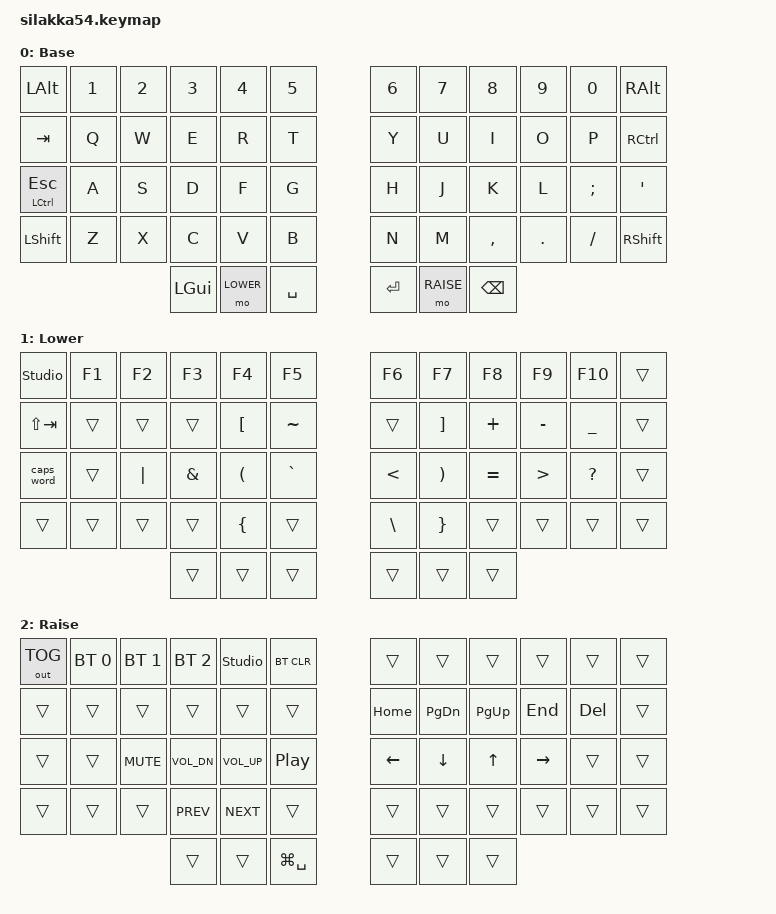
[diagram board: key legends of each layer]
/*
 * Copyright (c) 2026 Anshul Joshi
 *
 * SPDX-License-Identifier: MIT
 *
 * Stage 0 keymap — deliberately minimal. Layer changes graduate from
 * ZMK Studio experiments into this file; this file is the truth.
 *
 * Physical position indices (matches silakka54-layouts.dtsi order):
 *   0-11 number row, 12-23 top row, 24-35 home row, 36-47 bottom row,
 *   48-50 left thumbs (outer->inner), 51-53 right thumbs (inner->outer).
 */

#include <behaviors.dtsi>
#include <dt-bindings/zmk/keys.h>
#include <dt-bindings/zmk/bt.h>
#include <dt-bindings/zmk/outputs.h>

#define BASE  0
#define LOWER 1
#define RAISE 2

/*
 * ── Week-3 scaffold: urob-style "timeless" home row mods. NOT ACTIVE. ──
 * To enable: uncomment the defines and the behaviors block, then replace
 * home-row taps in base_layer with e.g. &hml LCTRL A ... &hmr RCTRL SEMI.
 * balanced flavor + require-prior-idle-ms means a hold only registers when
 * you pause first or chord with the opposite hand — no misfires mid-roll.
 *
 * #define KEYS_L 0 1 2 3 4 5 12 13 14 15 16 17 24 25 26 27 28 29 36 37 38 39 40 41
 * #define KEYS_R 6 7 8 9 10 11 18 19 20 21 22 23 30 31 32 33 34 35 42 43 44 45 46 47
 * #define THUMBS 48 49 50 51 52 53
 *
 * / {
 *     behaviors {
 *         hml: home_row_mod_left {
 *             compatible = "zmk,behavior-hold-tap";
 *             #binding-cells = <2>;
 *             flavor = "balanced";
 *             tapping-term-ms = <280>;
 *             quick-tap-ms = <175>;
 *             require-prior-idle-ms = <150>;
 *             bindings = <&kp>, <&kp>;
 *             hold-trigger-key-positions = <KEYS_R THUMBS>;
 *             hold-trigger-on-release;
 *         };
 *         hmr: home_row_mod_right {
 *             compatible = "zmk,behavior-hold-tap";
 *             #binding-cells = <2>;
 *             flavor = "balanced";
 *             tapping-term-ms = <280>;
 *             quick-tap-ms = <175>;
 *             require-prior-idle-ms = <150>;
 *             bindings = <&kp>, <&kp>;
 *             hold-trigger-key-positions = <KEYS_L THUMBS>;
 *             hold-trigger-on-release;
 *         };
 *     };
 * };
 */

/* Caps behaves as a toggle: second press cancels. SPACE added so caps
 * survive across words; Enter/punctuation still auto-cancel as a safety
 * net, since the board has no caps indicator. */
&caps_word {
    continue-list = <UNDERSCORE BACKSPACE DELETE SPACE>;
};

/* Tap = Esc, hold = Ctrl. Positional: the hold only triggers when chorded
 * with the RIGHT hand or thumbs — same-hand ctrl chords route through the
 * dedicated right-column Ctrl instead. prior-idle 190ms = 10500/55wpm;
 * retune down as prose speed recovers (150 @ 70wpm). */
/ {
    behaviors {
        esc_ctl: esc_ctl {
            compatible = "zmk,behavior-hold-tap";
            #binding-cells = <2>;
            flavor = "balanced";
            tapping-term-ms = <280>;
            quick-tap-ms = <175>;
            require-prior-idle-ms = <190>;
            bindings = <&kp>, <&kp>;
            hold-trigger-key-positions = <6 7 8 9 10 11 18 19 20 21 22 23 30 31 32 33 34 35 42 43 44 45 46 47 48 49 50 51 52 53>;
            hold-trigger-on-release;
        };
    };
};

/ {
    keymap {
        compatible = "zmk,keymap";

        base_layer {
            display-name = "Base";
            bindings = <
&kp LALT  &kp N1 &kp N2 &kp N3 &kp N4 &kp N5        &kp N6  &kp N7 &kp N8    &kp N9  &kp N0   &kp RALT
&kp TAB   &kp Q  &kp W  &kp E  &kp R  &kp T         &kp Y   &kp U  &kp I     &kp O   &kp P    &kp RCTRL
&esc_ctl LCTRL ESC &kp A &kp S &kp D &kp F &kp G    &kp H   &kp J  &kp K     &kp L   &kp SEMI &kp SQT
&kp LSHFT &kp Z  &kp X  &kp C  &kp V  &kp B         &kp N   &kp M  &kp COMMA &kp DOT &kp FSLH &kp RSHFT
                 &kp LGUI &mo LOWER &kp SPACE       &kp RET &mo RAISE &kp BSPC
            >;
        };

        lower_layer {
            display-name = "Lower";
            bindings = <
&studio_unlock &kp F1 &kp F2 &kp F3 &kp F4 &kp F5    &kp F6   &kp F7   &kp F8    &kp F9 &kp F10   &trans
&kp LS(TAB) &trans &trans   &trans &kp LBKT &kp TILDE &trans   &kp RBKT &kp PLUS  &kp MINUS &kp UNDER &trans
&caps_word &trans &kp PIPE &kp AMPS &kp LPAR &kp GRAVE &kp LT  &kp RPAR &kp EQUAL &kp GT &kp QMARK &trans
&trans &trans &trans   &trans   &kp LBRC &trans       &kp BSLH &kp RBRC &trans    &trans &trans    &trans
                       &trans &trans &trans              &trans &trans &trans
            >;
        };

        raise_layer {
            display-name = "Raise";
            bindings = <
&out OUT_TOG &bt BT_SEL 0 &bt BT_SEL 1 &bt BT_SEL 2 &studio_unlock &bt BT_CLR  &trans   &trans    &trans   &trans    &trans  &trans
&trans       &trans       &trans       &trans       &trans       &trans        &kp HOME &kp PG_DN &kp PG_UP &kp END  &kp DEL &trans
&trans       &trans       &kp C_MUTE   &kp C_VOL_DN &kp C_VOL_UP &kp C_PP      &kp LEFT &kp DOWN  &kp UP   &kp RIGHT &trans  &trans
&trans       &trans       &trans       &kp C_PREV   &kp C_NEXT   &trans        &trans   &trans    &trans   &trans    &trans  &trans
                          &trans &trans &kp LG(SPACE)                          &trans &trans &trans
            >;
        };
    };
};
